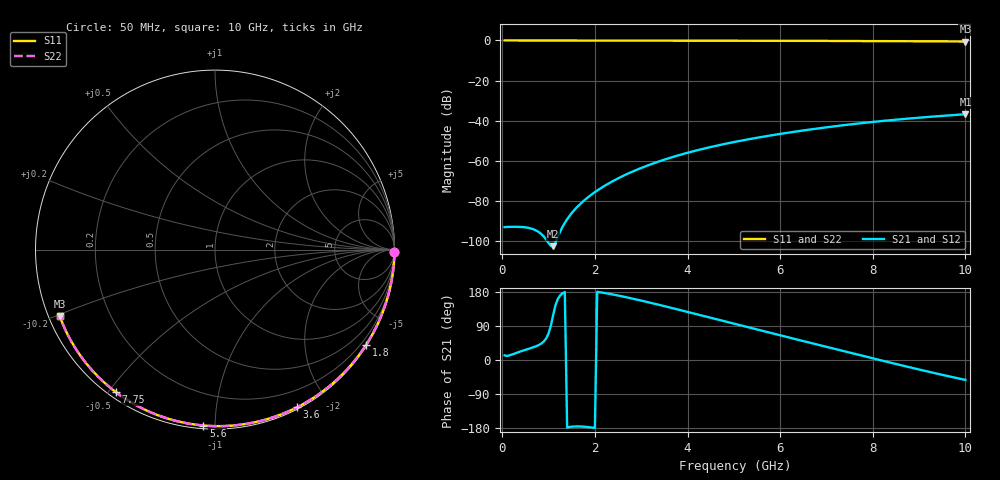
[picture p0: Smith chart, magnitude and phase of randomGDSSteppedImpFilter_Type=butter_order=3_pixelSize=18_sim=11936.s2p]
! freq	dB(S11)	phase(S11)	dB(S12)	phase(S12)
!  dB(S21)	phase(S21)	dB(S22)	phase(S22)
!S-par simulation data
#  GHz  S  DB  R 50
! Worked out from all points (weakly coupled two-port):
!   200 points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, 50 MHz to 10 GHz, reference 50 ohm
!   highest |S21| = -36.69 dB at 10 GHz (marker M1); lowest = -102.3 dB at 1.1 GHz (marker M2)
!   lowest |S11| = -0.5 dB at 10 GHz (marker M3), VSWR 33.16, Z = 1.57 - j10.3 ohm
!   |S11| at or under -10 dB: nowhere
!   |S22| runs from -0.5 to 0.0 dB; largest |S21 - S12| = 0
!   S11 on the Smith chart (normalised r, x): 50 MHz: open; 1.8 GHz: 0.03, -3.47; 3.6 GHz: 0.02, -1.65; 5.6 GHz: 0.02, -0.94; 7.75 GHz: 0.02, -0.52; 10 GHz: 0.03, -0.21
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0.05  -0.00 -0.9  -92.87 12.4  -92.87 12.4  -0.00 -0.9
0.55  -0.01 -10.0  -93.16 28.8  -93.16 28.8  -0.01 -10.0
1.1  -0.02 -19.8  -102.33 119.6  -102.33 119.6  -0.02 -19.8
1.75  -0.04 -31.3  -79.94 -175.9  -79.94 -175.9  -0.04 -31.3
1.8  -0.04 -32.1  -78.95 -176.3  -78.95 -176.3  -0.04 -32.1
1.95  -0.04 -34.8  -76.26 -178.4  -76.26 -178.4  -0.04 -34.7
2.1  -0.05 -37.4  -73.88 179.0  -73.88 179.0  -0.05 -37.3
2.3  -0.05 -40.8  -71.08 174.8  -71.08 174.8  -0.05 -40.8
2.5  -0.06 -44.2  -68.60 170.1  -68.60 170.1  -0.06 -44.2
2.9  -0.07 -51.0  -64.36 159.6  -64.36 159.6  -0.07 -51.0
3.4  -0.08 -59.3  -60.05 145.1  -60.05 145.1  -0.08 -59.3
3.6  -0.08 -62.6  -58.55 139.1  -58.55 139.1  -0.08 -62.6
4.3  -0.10 -73.8  -54.10 117.5  -54.10 117.5  -0.10 -73.8
5.05  -0.13 -85.5  -50.32 94.3  -50.32 94.3  -0.13 -85.5
5.6  -0.16 -93.8  -48.00 77.3  -48.00 77.3  -0.16 -93.8
6.15  -0.18 -102.0  -45.96 60.5  -45.96 60.5  -0.18 -101.9
6.7  -0.21 -110.0  -44.13 43.8  -44.13 43.8  -0.21 -109.9
7.2  -0.25 -117.1  -42.63 28.6  -42.63 28.6  -0.25 -117.1
7.75  -0.29 -124.9  -41.15 11.9  -41.15 11.9  -0.29 -124.9
8.35  -0.34 -133.4  -39.74 -6.1  -39.74 -6.1  -0.34 -133.4
9.2  -0.43 -145.3  -38.04 -30.8  -38.04 -30.8  -0.43 -145.3
10  -0.52 -156.7  -36.69 -52.6  -36.69 -52.6  -0.52 -156.7
